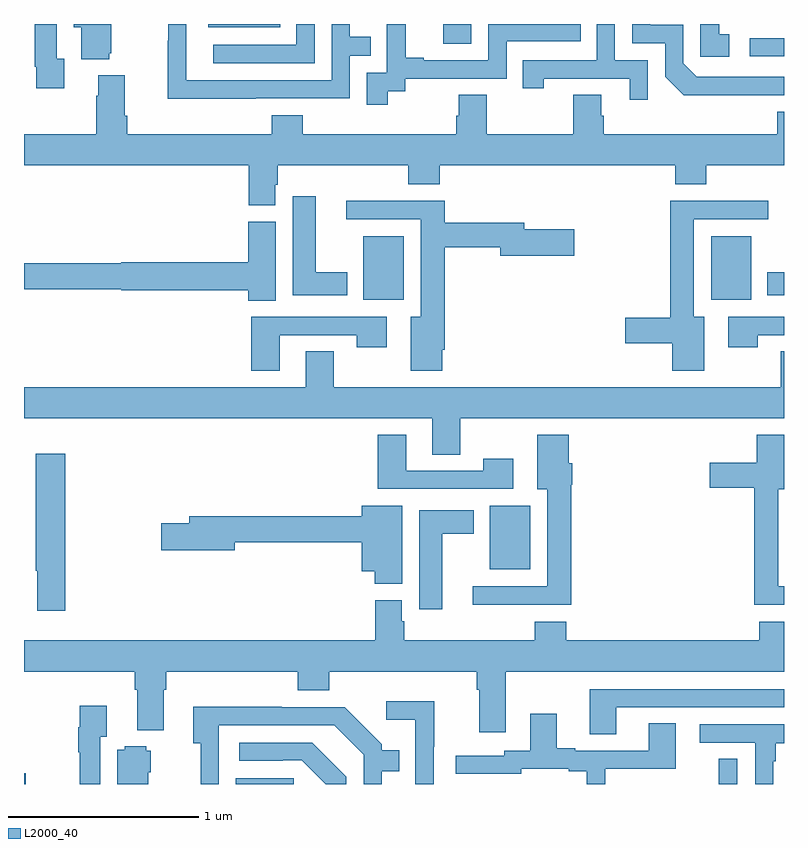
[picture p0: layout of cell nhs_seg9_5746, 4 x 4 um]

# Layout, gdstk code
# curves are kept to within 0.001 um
import gdstk
lib = gdstk.Library(unit=1e-6, precision=1e-09)
def R(c, l, rs):  # rectangles x0, y0, x1, y1
    for r in rs: c.add(gdstk.rectangle(r[:2], r[2:], *l))
def P(c, l, *ps):  # polygons
    for p in ps: c.add(gdstk.Polygon(p, *l))
L2000_40 = (2000, 40)

nhs_seg9_5746 = lib.new_cell('nhs_seg9_5746')
R(nhs_seg9_5746, L2000_40, [(445,1190.5,445.008,1190.556), (446.114,1190.5,446.419,1190.529), (448.657,1190.5,448.755,1190.633), (447.452,1191.629,447.664,1191.964), (446.786,1193.048,446.998,1193.383), (448.616,1193.048,448.828,1193.383), (448.913,1193.072,449,1193.194), (448.821,1194.33,449,1194.426), (447.207,1194.396,447.354,1194.5), (445.97,1194.482,446.348,1194.5)])
P(nhs_seg9_5746, L2000_40, [(446.914,1194.145),(447.006,1194.145),(447.006,1194.213),(447.54,1194.213),(447.54,1194.408),(447.929,1194.408),(447.929,1194.5),(447.444,1194.5),(447.444,1194.309),(447.103,1194.309),(447.103,1194.322),(447.008,1194.322),(447.008,1194.5),(446.909,1194.5),(446.909,1194.473),(446.91,1194.473),(446.91,1194.243),(446.805,1194.243),(446.805,1194.075),(446.914,1194.075)],
  [(445.448,1194.345),(445.459,1194.345),(445.459,1194.5),(445.262,1194.5),(445.262,1194.482),(445.301,1194.482),(445.301,1194.314),(445.448,1194.314)],
  [(448.284,1194.309),(448.11,1194.309),(448.11,1194.5),(448.014,1194.5),(448.014,1194.309),(447.625,1194.309),(447.625,1194.162),(447.736,1194.162),(447.736,1194.213),(448.187,1194.213),(448.187,1194.102),(448.284,1194.102)],
  [(445.213,1194.318),(445.173,1194.318),(445.173,1194.5),(445.057,1194.5),(445.057,1194.274),(445.065,1194.274),(445.065,1194.162),(445.213,1194.162)],
  [(446.529,1194.5),(446.433,1194.5),(446.433,1194.39),(445.995,1194.39),(445.995,1194.294),(446.529,1194.294)],
  [(448.711,1194.447),(448.658,1194.447),(448.658,1194.5),(448.56,1194.5),(448.56,1194.327),(448.711,1194.327)],
  [(446.219,1194.108),(446.715,1194.108),(446.715,1194.333),(446.825,1194.333),(446.825,1194.434),(446.715,1194.434),(446.715,1194.5),(446.619,1194.5),(446.619,1194.204),(445.854,1194.204),(445.854,1194.5),(445.758,1194.5),(445.758,1194.413),(445.756,1194.413),(445.756,1194.107),(446.219,1194.107)],
  [(448.88,1194.126),(449,1194.126),(449,1194.222),(448.542,1194.222),(448.47,1194.294),(448.47,1194.495),(448.297,1194.495),(448.297,1194.5),(448.2,1194.5),(448.2,1194.399),(448.374,1194.399),(448.374,1194.222),(448.472,1194.125)],
  [(445.391,1194.229),(445.391,1194.122),(445.379,1194.122),(445.379,1193.92),(445,1193.92),(445,1193.756),(446.183,1193.756),(446.183,1193.545),(446.323,1193.545),(446.323,1193.655),(446.336,1193.655),(446.336,1193.756),(447.023,1193.756),(447.023,1193.657),(447.188,1193.657),(447.188,1193.756),(448.427,1193.756),(448.427,1193.657),(448.592,1193.657),(448.592,1193.756),(449,1193.756),(449,1194.037),(448.964,1194.037),(448.964,1193.92),(448.052,1193.92),(448.052,1194.018),(448.039,1194.018),(448.039,1194.128),(447.892,1194.128),(447.892,1193.92),(447.435,1193.92),(447.435,1194.128),(447.287,1194.128),(447.287,1194.018),(447.275,1194.018),(447.275,1193.92),(446.468,1193.92),(446.468,1194.019),(446.303,1194.019),(446.303,1193.92),(445.544,1193.92),(445.544,1194.016),(445.531,1194.016),(445.531,1194.229)],
  [(446.701,1193.194),(446.536,1193.194),(446.536,1193.593),(446.414,1193.593),(446.414,1193.072),(446.701,1193.072)],
  [(447.202,1192.786),(447.215,1192.786),(447.215,1193.326),(447.506,1193.326),(447.506,1193.279),(447.895,1193.279),(447.895,1193.421),(447.634,1193.421),(447.634,1193.455),(447.215,1193.455),(447.215,1193.57),(446.697,1193.57),(446.697,1193.472),(447.089,1193.472),(447.089,1192.96),(447.035,1192.96),(447.035,1192.674),(447.202,1192.674)],
  [(448.579,1192.96),(448.525,1192.96),(448.525,1193.472),(448.918,1193.472),(448.918,1193.57),(448.4,1193.57),(448.4,1192.955),(448.164,1192.955),(448.164,1192.82),(448.412,1192.82),(448.412,1192.674),(448.579,1192.674)],
  [(446.326,1193.46),(446.18,1193.46),(446.18,1193.246),(445.512,1193.246),(445.512,1193.24),(445,1193.24),(445,1193.104),(445.512,1193.104),(445.512,1193.099),(446.18,1193.099),(446.18,1193.044),(446.326,1193.044)],
  [(448.863,1192.863),(449,1192.863),(449,1192.959),(448.707,1192.959),(448.707,1192.8),(448.863,1192.8)],
  [(446.347,1192.863),(446.752,1192.863),(446.752,1192.8),(446.908,1192.8),(446.908,1192.959),(446.195,1192.959),(446.195,1192.674),(446.347,1192.674)],
  [(449,1192.778),(448.984,1192.778),(448.984,1192.588),(446.631,1192.588),(446.631,1192.778),(446.483,1192.778),(446.483,1192.588),(445,1192.588),(445,1192.424),(447.149,1192.424),(447.149,1192.234),(447.297,1192.234),(447.297,1192.424),(449,1192.424)],
  [(449,1191.54),(448.969,1191.54),(448.969,1192.052),(449,1192.052),(449,1192.339),(448.856,1192.339),(448.856,1192.192),(448.608,1192.192),(448.608,1192.058),(448.844,1192.058),(448.844,1191.443),(449,1191.443)],
  [(447.881,1192.074),(447.886,1192.074),(447.886,1192.188),(447.868,1192.188),(447.868,1192.339),(447.701,1192.339),(447.701,1192.052),(447.755,1192.052),(447.755,1191.54),(447.363,1191.54),(447.363,1191.443),(447.881,1191.443)],
  [(447.574,1192.213),(447.418,1192.213),(447.418,1192.149),(447.013,1192.149),(447.013,1192.339),(446.861,1192.339),(446.861,1192.053),(447.574,1192.053)],
  [(445.217,1192.237),(445.063,1192.237),(445.063,1191.623),(445.07,1191.623),(445.07,1191.411),(445.217,1191.411)],
  [(446.992,1191.964),(446.777,1191.964),(446.777,1191.908),(445.871,1191.908),(445.871,1191.872),(445.722,1191.872),(445.722,1191.73),(446.11,1191.73),(446.11,1191.772),(446.777,1191.772),(446.777,1191.62),(446.846,1191.62),(446.846,1191.553),(446.992,1191.553)],
  [(447.202,1191.818),(447.367,1191.818),(447.367,1191.94),(447.08,1191.94),(447.08,1191.42),(447.202,1191.42)],
  [(447.535,1191.092),(449,1191.092),(449,1191.355),(448.871,1191.355),(448.871,1191.256),(447.854,1191.256),(447.854,1191.355),(447.689,1191.355),(447.689,1191.256),(447.002,1191.256),(447.002,1191.357),(446.989,1191.357),(446.989,1191.468),(446.849,1191.468),(446.849,1191.256),(445,1191.256),(445,1191.092),(445.583,1191.092),(445.583,1190.996),(445.595,1190.996),(445.595,1190.783),(445.735,1190.783),(445.735,1190.996),(445.748,1190.996),(445.748,1191.092),(446.441,1191.092),(446.441,1190.993),(446.606,1190.993),(446.606,1191.092),(447.383,1191.092),(447.383,1190.996),(447.395,1190.996),(447.395,1190.772),(447.535,1190.772)],
  [(448.117,1190.904),(449,1190.904),(449,1191),(447.977,1191),(447.977,1190.761),(448.117,1190.761)],
  [(447.156,1190.696),(447.159,1190.696),(447.159,1190.935),(446.907,1190.935),(446.907,1190.837),(447.06,1190.837),(447.06,1190.5),(447.156,1190.5)],
  [(445.401,1190.75),(445.435,1190.75),(445.435,1190.911),(445.293,1190.911),(445.293,1190.798),(445.285,1190.798),(445.285,1190.666),(445.293,1190.666),(445.293,1190.5),(445.401,1190.5)],
  [(446.025,1190.808),(446.634,1190.808),(446.787,1190.655),(446.787,1190.5),(446.884,1190.5),(446.884,1190.568),(446.975,1190.568),(446.975,1190.677),(446.883,1190.677),(446.883,1190.709),(446.688,1190.904),(446.357,1190.904),(446.357,1190.906),(445.892,1190.906),(445.892,1190.714),(445.929,1190.714),(445.929,1190.5),(446.025,1190.5)],
  [(448.059,1190.58),(448.429,1190.58),(448.429,1190.819),(448.289,1190.819),(448.289,1190.676),(447.901,1190.676),(447.901,1190.689),(447.805,1190.689),(447.805,1190.869),(447.665,1190.869),(447.665,1190.676),(447.528,1190.676),(447.528,1190.649),(447.273,1190.649),(447.273,1190.553),(447.618,1190.553),(447.618,1190.58),(447.866,1190.58),(447.866,1190.568),(447.962,1190.568),(447.962,1190.5),(448.059,1190.5)],
  [(448.944,1190.621),(448.957,1190.621),(448.957,1190.714),(449,1190.714),(449,1190.814),(448.557,1190.814),(448.557,1190.718),(448.848,1190.718),(448.848,1190.5),(448.944,1190.5)],
  [(446.697,1190.539),(446.518,1190.718),(446.133,1190.718),(446.133,1190.622),(446.363,1190.622),(446.363,1190.625),(446.463,1190.625),(446.588,1190.5),(446.697,1190.5)],
  [(445.654,1190.562),(445.666,1190.562),(445.666,1190.676),(445.644,1190.676),(445.644,1190.698),(445.53,1190.698),(445.53,1190.68),(445.49,1190.68),(445.49,1190.5),(445.654,1190.5)])

lib.write_gds('nhs_seg9_5746.gds')
